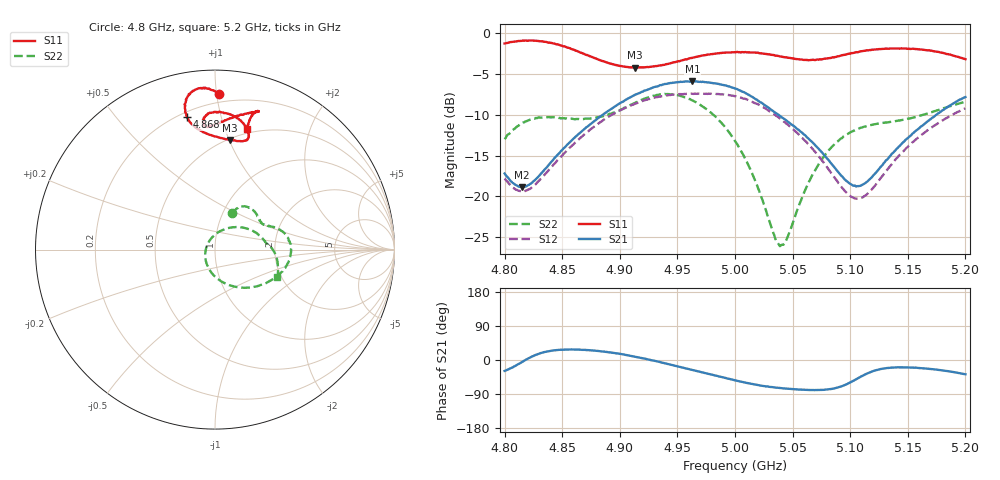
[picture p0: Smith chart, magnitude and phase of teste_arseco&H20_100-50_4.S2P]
! Network Analyzer HP8722D
! Hewlett-Packard
! Data name: Linha & Wilkinson
! Saver's name: Rodrigo Anjos
! Comments: Teste da utilização de aquisição
! continua pelo VNA HP8722D
! Time and date: 6/5/2025 12:36
!  Frequency  S11  S21  S12  S22
# HZ  S  MA R 50
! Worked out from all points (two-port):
!   401 points, 4.8 GHz to 5.2 GHz, reference 50 ohm
!   highest |S21| = -5.89 dB at 4.963 GHz (marker M1); lowest = -18.9 dB at 4.815 GHz (marker M2)
!   |S21| within 3 dB of the highest: 4.897 GHz to 5.027 GHz (129.9 MHz wide, 2.62 % of centre); 5.186212 GHz to end of sweep
!   lowest |S11| = -4.2 dB at 4.913 GHz (marker M3), VSWR 4.21, Z = 25.6 + j50.3 ohm
!   |S11| at or under -10 dB: nowhere
!   |S22| runs from -26.1 to -7.4 dB; largest |S21 - S12| = 0.88
!   S11 on the Smith chart (normalised r, x): 4.8 GHz: 0.15, +1.01; 4.868 GHz: 0.23, +0.79; 5.2 GHz: 0.46, +1.19
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4.8e9  0.8665 88.6  0.1379 -28.8  0.1284 99.7  0.224 64.8
4.815e9  0.8994 93.1  0.1137 -5.5  0.1067 120.0  0.281 58.3
4.825e9  0.902 95.9  0.1236 10.6  0.1157 135.2  0.299 52.6
4.845e9  0.8567 100.7  0.1765 26.3  0.1635 150.9  0.3042 40.5
4.867e9  0.7579 102.0  0.2506 26.8  0.2319 154.8  0.2972 31.0
4.868e9  0.7529 101.9  0.2541 26.7  0.2356 154.7  0.2973 30.9
4.913e9  0.616 82.2  0.419 9.0  0.3692 142.6  0.3734 17.7
4.934e9  0.6341 74.0  0.4773 -5.0  0.4085 131.5  0.4205 4.9
4.963e9  0.7071 76.4  0.5075 -26.4  0.4253 113.2  0.3878 -19.9
4.983e9  0.751 82.0  0.4932 -40.9  0.4256 100.0  0.3085 -41.8
5e9  0.7659 87.6  0.4589 -53.5  0.4112 88.1  0.2182 -66.6
5.02e9  0.7604 92.9  0.386 -66.4  0.3668 74.4  0.1122 -107.4
5.034e9  0.7351 94.9  0.3295 -72.6  0.3191 66.8  0.05779 -160.1
5.039e9  0.7215 95.2  0.3113 -73.9  0.2998 64.8  0.04936 168.7
5.045e9  0.7119 95.4  0.2905 -75.7  0.278 62.3  0.05469 129.7
5.067e9  0.6874 93.1  0.2151 -79.2  0.1964 58.6  0.1345 61.2
5.085e9  0.7145 87.3  0.1547 -75.7  0.1343 64.1  0.204 36.2
5.105e9  0.7671 78.9  0.1148 -51.0  0.09674 92.0  0.2554 19.3
5.116e9  0.7866 75.3  0.1252 -34.0  0.1052 111.6  0.2716 13.4
5.134e9  0.8049 72.7  0.1745 -20.6  0.151 126.4  0.2857 7.8
5.17e9  0.7831 74.3  0.2979 -23.7  0.2626 122.0  0.327 -1.4
5.2e9  0.6943 75.1  0.4061 -37.7  0.3468 110.6  0.3793 -23.9
